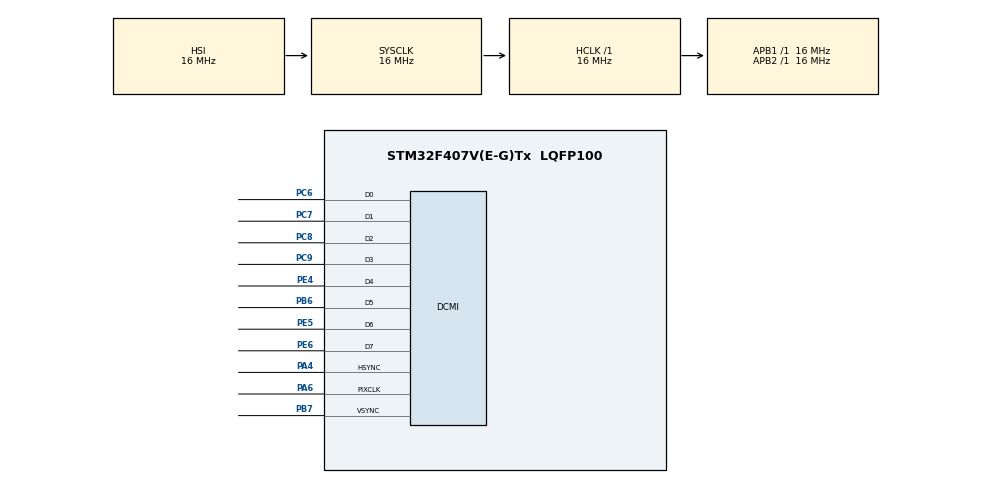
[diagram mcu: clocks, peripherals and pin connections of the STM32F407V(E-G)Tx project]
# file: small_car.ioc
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DCMI.HSPolarity=DCMI_HSPOLARITY_HIGH
DCMI.JPEGMode=DCMI_JPEG_DISABLE
DCMI.PCKPolarity=DCMI_PCKPOLARITY_RISING
Mcu.Family=STM32F4
Mcu.Name=STM32F407V(E-G)Tx
Mcu.Package=LQFP100
NVIC.PriorityGroup=NVIC_PRIORITYGROUP_4
PA13.Mode=Serial_Wire
PA13.Signal=SYS_JTMS-SWDIO
PA14.Mode=Serial_Wire
PA14.Signal=SYS_JTCK-SWCLK
PA4.Mode=Slave_8_bits_External_Synchro
PA4.Signal=DCMI_HSYNC
PA6.Mode=Slave_8_bits_External_Synchro
PA6.Signal=DCMI_PIXCLK
PB6.Mode=Slave_8_bits_External_Synchro
PB6.Signal=DCMI_D5
PB7.Mode=Slave_8_bits_External_Synchro
PB7.Signal=DCMI_VSYNC
PC6.Mode=Slave_8_bits_External_Synchro
PC6.Signal=DCMI_D0
PC7.Mode=Slave_8_bits_External_Synchro
PC7.Signal=DCMI_D1
PC8.Mode=Slave_8_bits_External_Synchro
PC8.Signal=DCMI_D2
PC9.Mode=Slave_8_bits_External_Synchro
PC9.Signal=DCMI_D3
PE4.Mode=Slave_8_bits_External_Synchro
PE4.Signal=DCMI_D4
PE5.Mode=Slave_8_bits_External_Synchro
PE5.Signal=DCMI_D6
PE6.Mode=Slave_8_bits_External_Synchro
PE6.Signal=DCMI_D7
ProjectManager.HeapSize=0x200
ProjectManager.StackSize=0x400
ProjectManager.TargetToolchain=MDK-ARM V5.32
RCC.AHBFreq_Value=16000000
RCC.APB1Freq_Value=16000000
RCC.APB2Freq_Value=16000000
RCC.CortexFreq_Value=16000000
RCC.HSE_VALUE=25000000
RCC.HSI_VALUE=16000000
RCC.LSE_VALUE=32768
RCC.SYSCLKFreq_VALUE=16000000
RCC.VCOOutputFreq_Value=192000000
board=custom

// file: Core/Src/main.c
/* USER CODE BEGIN Header */
/**
  ******************************************************************************
  * @file           : main.c
  * @brief          : Main program body
  ******************************************************************************
  * @attention
  *
  * Copyright (c) 2026 STMicroelectronics.
  * All rights reserved.
  *
  * This software is licensed under terms that can be found in the LICENSE file
  * in the root directory of this software component.
  * If no LICENSE file comes with this software, it is provided AS-IS.
  *
  ******************************************************************************
  */
/* USER CODE END Header */
#include "main.h"
#include "app.h"

/* USER CODE BEGIN Includes */
#include <stdio.h>
#include <string.h>            /* sprintf */
#include "wifi_f4.h"          /* 逐飞 WiFi6B21-SPI 模块驱动（F407/HAL 移植版） */
#include "board_f4.h"         /* 板级：时钟树 168MHz + 总钻风摄像头(DCMI) */
#include "ctrl_f4.h"          /* 车模控制：电机 / 编码器 / 舵机 / MPU9250 / 速度 PID（从 MSPM0 移植） */
/* USER CODE END Includes */

DCMI_HandleTypeDef hdcmi;

void SystemClock_Config(void);
static void MX_GPIO_Init(void);
static void MX_DCMI_Init(void);

/* USER CODE BEGIN 0 */

/* ★ 上次 HardFault 的现场（由 HardFault_Handler 写进 RTC 备份寄存器，开机读回）*/
volatile uint32_t flt_pc   = 0U;      /* 出错处的 PC */
volatile uint32_t flt_lr   = 0U;
volatile uint32_t flt_cfsr = 0U;      /* 可配置故障状态 */
volatile uint32_t flt_hfsr = 0U;
volatile uint32_t flt_bfar = 0U;      /* BusFault 出错地址 */
/* ★ 2026-11-07（FW=2100）：**主循环看门狗复位时，卡在哪一步**（"面包屑"）
   由 SysTick 看门狗写进 RTC->BKP6R，开机读回来，心跳里显示成 LM= */
volatile uint32_t flt_mark = 0U;

int main(void)
{

  /* MCU Configuration--------------------------------------------------------*/

  /* Reset of all peripherals, Initializes the Flash interface and the Systick. */
  HAL_Init();

  /* USER CODE BEGIN Init */
  /* ★★★ 2026-11-07（FW=2098）：**SysTick 必须是最高优先级** ★★★
     HAL_Init() 把 SysTick 设成 15（最低），而 UART4=6、DCMI=5、DMA=6 都比它高。
     后果：只要这几个中断密集一点（舵机 1Mbps 线的回显、噪声，摄像头行中断），
           SysTick 就被插不进来 ⇒ **HAL_GetTick() 停止前进** ⇒
           而整个工程里所有"超时保护"都是 `while (HAL_GetTick() - t0 < N)` ⇒
           它们**永远不超时** ⇒ 主循环卡死，上位机看到的就是"已连接但 0 B/s"。
     把 SysTick 提到 0，等于给所有超时兜底：谁也别想把时间基准饿死。 */
  HAL_NVIC_SetPriority(SysTick_IRQn, 0U, 0U);
  /* USER CODE END Init */

  /* Configure the system clock */
  SystemClock_Config();

  /* USER CODE BEGIN SysInit */
  // ★ 重新配时钟到 168MHz（CubeMX 生成的 SystemClock_Config 里 HSE 值可能不对）
  //   调试时看这两个全局变量：
  //      board_clock_src  = 1 用了外部晶振 / 2 晶振没起来退回了内部 HSI
  //      board_sysclk_hz  = 实际系统时钟，应该是 168000000
  board_clock_init();
  /* USER CODE END SysInit */

  /* Initialize all configured peripherals */
  MX_GPIO_Init();
  MX_DCMI_Init();
  /* USER CODE BEGIN 2 */

  // ★★★ 记录"这次到底是**为什么复位**的"（硬件诊断第一手资料）★★★
  //   RCC->CSR 的高位是**粘滞**的复位来源标志，读一次就知道：
  //     bit25 BORRSTF  = **欠压/掉电**（供电被拉低 —— 摄像头电流大时最可能）
  //     bit26 PINRSTF  = 复位引脚被拉低（按键/RST）
  //     bit27 PORRSTF  = 上电复位
  //     bit28 SFTRSTF  = 软件复位
  //     bit29 IWDGRSTF = 独立看门狗
  //     bit30 WWDGRSTF = 窗口看门狗
  //     bit31 LPWRRSTF = 低功耗复位
  //   ⚠️ 读完要写 RMVF 清掉，否则下次看到的还是老标志。
  cam_rst_flags = (uint32_t)((RCC->CSR >> 25) & 0x7FU);

  /* ★ 开机读"上次是不是 HardFault 挂的"，以及挂在哪 */
  {
    RCC->APB1ENR |= (1UL << 28);
    PWR->CR      |= (1UL << 8);
    /* ★ 主循环看门狗复位时记下的"卡在第几步"（RTC 备份寄存器，掉电不丢）*/
    flt_mark   = RTC->BKP6R;
    RTC->BKP6R = 0U;
    if (0xA5A5A5A5UL == RTC->BKP0R)
    {
      flt_pc   = RTC->BKP1R;
      flt_lr   = RTC->BKP2R;
      flt_cfsr = RTC->BKP3R;
      flt_hfsr = RTC->BKP4R;
      flt_bfar = RTC->BKP5R;
      RTC->BKP0R = 0U;                    /* 只报一次 */
    }
  }
  RCC->CSR |= RCC_CSR_RMVF;

  // ---- 板载 LED（PB2）：没有屏幕，靠它看状态 ----
  board_led_init();

  // ==================== 摄像头（DCMI + DMA）====================
  //   MX_DCMI_Init() 已经把 DCMI 外设配好了（8位 / 硬件同步 / VSYNC低有效 / PCLK上升沿），
  //   这里补的是：DMA + 两个中断 + 启动第一帧。
  board_cam_init();

  // ==================== 车模控制（从 MSPM0 工程移植）====================
  //   电机 TIM2_CH3/4 + DIR、编码器 TIM5 + Z、舵机 UART4、MPU9250 软 I2C、速度 PID / yaw。
  //   ★ 放在摄像头之后、WiFi 之前：WiFi 初始化最长阻塞 60 秒，电机必须在它之前就已经
  //     被置成"停"（PWM=0 + DIR=0），否则这 60 秒里车可能会乱动。
  ctrl_all_init();

  /* ★★ 2212：**上电默认就开电机**（用户要求：测试新 DRV888 驱动）
       · 开环占空比 40%（`w 4000 0`，量纲 ±10000 = ±100%）
       · 保护默认关（g_protect_enable = 0，见 protect_f4.c）
       · 断链也不强制停车（pid_f4.c 里那一处已经用 g_protect_enable 门控）
     ⚠️ 上车/上电之前**先把轮子架空**，或者准备好按【停止】/【急停】。
     想恢复"上电不转"：把下面这 3 行注释掉，或者把 CTRL_BOOT_RUN_DUTY 改成 0。*/
  #define CTRL_BOOT_RUN_DUTY   0           /* ★ 2217：改用 app.c 的 APP_BOOT_RUN_DUTY（延时 2 秒，等舵机/相机初始化完）*/
  if (CTRL_BOOT_RUN_DUTY > 0)
  {
      ctrl_open_loop(1U);                   /* 开环：速度环让位 */
      ctrl_motor_set(1U, (int16_t)CTRL_BOOT_RUN_DUTY);
      ctrl_motor_set(2U, 0);
  }
  /* ★ 2210：把上次存进 Flash 的 PID 参数读回来（没有存过就用代码里的默认值）。
     存的动作是命令 ss / 界面上的'存到板子'按钮；存在内部 Flash 扇区 11（0x080E0000）。*/
  (void)pid_store_load();

  // ==================== WiFi 模块：复位 → 连热点 → 连上位机 ====================
  //   ⚠️ 阻塞，最长约 60 秒。⚠️ **上位机（VOFA）要先把 TCP 服务端开着**，否则这一步会失败。
  //   返回值 = 卡在哪一步，直接由 LED 闪出来：
  //       1 = 模块没应答(SPI/供电/RST) → 闪 1 下
  //       2 = 连不上热点(SSID/密码/不是2.4G) → 闪 2 下
  //       3 = 连不上电脑(IP不对 / 上位机没开 / 防火墙) → 闪 3 下
  //       0 = 成功 → LED 常亮
  {
    uint8_t ret;

    ctrl_oled_boot(3U);                  /* ★ 开机阶段 3：正在连 WiFi / 连上位机（最长 60 秒）*/
    ret = wifi_f4_init();
    ctrl_oled_boot(4U);                  /* ★ 开机阶段 4：WiFi 初始化返回，准备进主循环 */
    board_led_show((0 == ret) ? LED_CODE_READY : ret);
  }

  /* USER CODE END 2 */

  /* Infinite loop */
  /* USER CODE BEGIN WHILE */
    app_loop();

  /* USER CODE END 3 */
}

void SystemClock_Config(void)
{
  RCC_OscInitTypeDef RCC_OscInitStruct = {0};
  RCC_ClkInitTypeDef RCC_ClkInitStruct = {0};

  /** Configure the main internal regulator output voltage
  */
  __HAL_RCC_PWR_CLK_ENABLE();
  __HAL_PWR_VOLTAGESCALING_CONFIG(PWR_REGULATOR_VOLTAGE_SCALE1);

  /** Initializes the RCC Oscillators according to the specified parameters
  * in the RCC_OscInitTypeDef structure.
  */
  RCC_OscInitStruct.OscillatorType = RCC_OSCILLATORTYPE_HSI;
  RCC_OscInitStruct.HSIState = RCC_HSI_ON;
  RCC_OscInitStruct.HSICalibrationValue = RCC_HSICALIBRATION_DEFAULT;
  RCC_OscInitStruct.PLL.PLLState = RCC_PLL_NONE;
  if (HAL_RCC_OscConfig(&RCC_OscInitStruct) != HAL_OK)
  {
    Error_Handler();
  }

  /** Initializes the CPU, AHB and APB buses clocks
  */
  RCC_ClkInitStruct.ClockType = RCC_CLOCKTYPE_HCLK|RCC_CLOCKTYPE_SYSCLK
                              |RCC_CLOCKTYPE_PCLK1|RCC_CLOCKTYPE_PCLK2;
  RCC_ClkInitStruct.SYSCLKSource = RCC_SYSCLKSOURCE_HSI;
  RCC_ClkInitStruct.AHBCLKDivider = RCC_SYSCLK_DIV1;
  RCC_ClkInitStruct.APB1CLKDivider = RCC_HCLK_DIV1;
  RCC_ClkInitStruct.APB2CLKDivider = RCC_HCLK_DIV1;

  if (HAL_RCC_ClockConfig(&RCC_ClkInitStruct, FLASH_LATENCY_0) != HAL_OK)
  {
    Error_Handler();
  }
}

static void MX_DCMI_Init(void)
{

  hdcmi.Instance = DCMI;
  hdcmi.Init.SynchroMode = DCMI_SYNCHRO_HARDWARE;
  hdcmi.Init.PCKPolarity = DCMI_PCKPOLARITY_RISING;
  hdcmi.Init.VSPolarity = DCMI_VSPOLARITY_LOW;
  hdcmi.Init.HSPolarity = DCMI_HSPOLARITY_HIGH;
  hdcmi.Init.CaptureRate = DCMI_CR_ALL_FRAME;
  hdcmi.Init.ExtendedDataMode = DCMI_EXTEND_DATA_8B;
  hdcmi.Init.JPEGMode = DCMI_JPEG_DISABLE;
  if (HAL_DCMI_Init(&hdcmi) != HAL_OK)
  {
    Error_Handler();
  }

}

static void MX_GPIO_Init(void)
{

  /* GPIO Ports Clock Enable */
  __HAL_RCC_GPIOE_CLK_ENABLE();
  __HAL_RCC_GPIOA_CLK_ENABLE();
  __HAL_RCC_GPIOC_CLK_ENABLE();
  __HAL_RCC_GPIOB_CLK_ENABLE();

}

void Error_Handler(void)
{
  __disable_irq();
  while (1)
  {
  }
}
